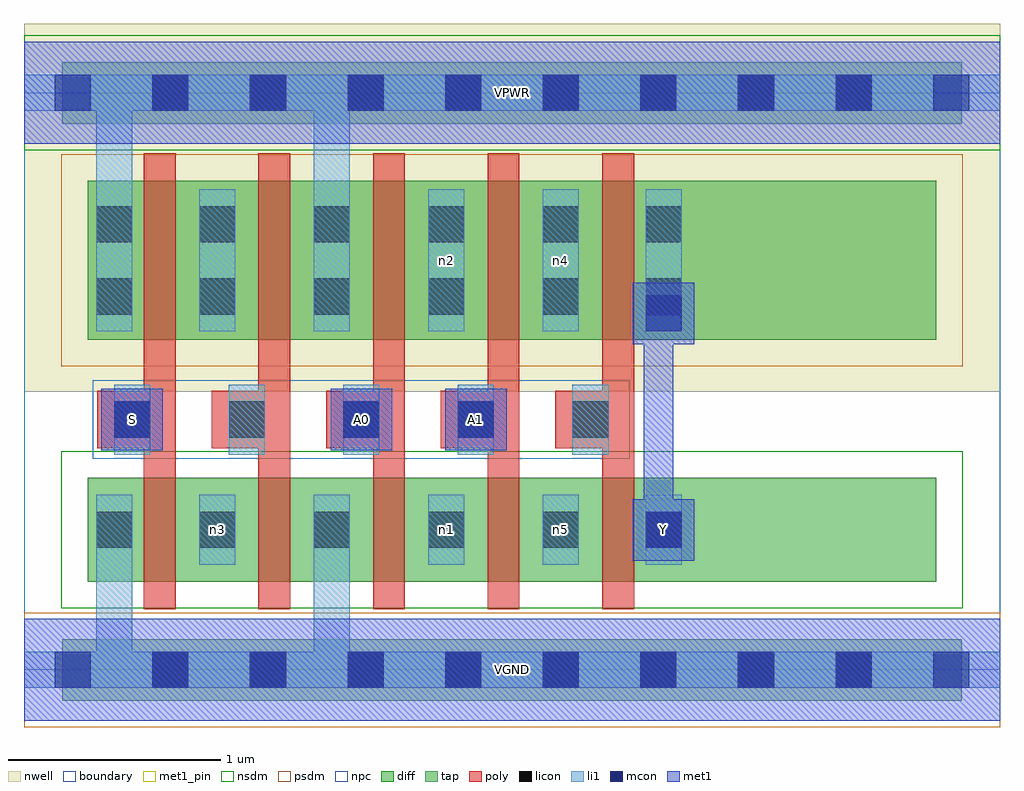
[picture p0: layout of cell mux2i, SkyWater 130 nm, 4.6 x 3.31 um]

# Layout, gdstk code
import gdstk
lib = gdstk.Library(unit=1e-6, precision=1e-09)
def R(c, l, rs):  # rectangles x0, y0, x1, y1
    for r in rs: c.add(gdstk.rectangle(r[:2], r[2:], *l))
def A(c, l, x, y, w, h, nx, ny, dx, dy):  # array of equal rectangles
    R(c, l, [(x+i*dx, y+j*dy, x+i*dx+w, y+j*dy+h) for i in range(nx) for j in range(ny)])
nwell = (64, 20)
diff = (65, 20)
tap = (65, 44)
poly = (66, 20)
licon = (66, 44)
li1 = (67, 20)
mcon = (67, 44)
met1_pin = (68, 16)
met1 = (68, 20)
nsdm = (93, 44)
psdm = (94, 20)
npc = (95, 20)
boundary = (235, 4)

mux2i = lib.new_cell('mux2i')
R(mux2i, nwell, [(0,1.31,4.6,3.045)])
R(mux2i, diff, [(0.3,0.415,4.3,0.905), (0.3,1.555,4.3,2.305)])
R(mux2i, tap, [(0.18,-0.145,4.42,0.145), (0.18,2.575,4.42,2.865)])
A(mux2i, poly, 0.565, 0.285, 0.15, 2.15, 5, 1, 0.54, 0)
A(mux2i, poly, 0.345, 1.045, 0.33, 0.27, 5, 1, 0.54, 0)
A(mux2i, licon, 0.605, -0.085, 0.17, 0.17, 8, 2, 0.46, 2.72)
A(mux2i, licon, 0.825, 0.575, 0.17, 0.17, 4, 2, 0.54, 1.1)
A(mux2i, licon, 0.425, 1.095, 0.17, 0.17, 5, 1, 0.54, 0)
A(mux2i, licon, 0.825, 2.015, 0.17, 0.17, 4, 1, 0.54, 0)
R(mux2i, licon, [(0.34,0.575,0.51,0.745), (2.93,0.575,3.1,0.745), (0.34,1.675,0.51,1.845), (2.93,1.675,3.1,1.845), (0.34,2.015,0.51,2.185), (2.93,2.015,3.1,2.185)])
A(mux2i, li1, 0.825, 0.495, 0.17, 0.33, 4, 1, 0.54, 0)
A(mux2i, li1, 0.425, 1.015, 0.17, 0.33, 5, 1, 0.54, 0)
A(mux2i, li1, 0.825, 1.595, 0.17, 0.67, 4, 1, 0.54, 0)
R(mux2i, li1, [(0,-0.085,4.6,0.085), (0.34,-0.085,0.51,0.825), (1.365,-0.085,1.535,0.825), (0.34,0.495,0.51,0.825), (2.93,0.495,3.1,0.825), (0.34,1.595,0.51,2.265), (0.34,1.595,0.51,2.805), (1.365,1.595,1.535,2.805), (2.93,1.595,3.1,2.265), (0,2.635,4.6,2.805)])
A(mux2i, mcon, 0.145, -0.085, 0.17, 0.17, 10, 2, 0.46, 2.72)
R(mux2i, mcon, [(2.93,0.575,3.1,0.745), (0.425,1.095,0.595,1.265), (1.505,1.095,1.675,1.265), (2.045,1.095,2.215,1.265), (2.93,1.595,3.1,1.765)])
R(mux2i, met1_pin, [(0,-0.24,4.6,0.24), (2.87,0.515,3.16,0.805), (0.365,1.035,0.655,1.325), (1.445,1.035,1.735,1.325), (1.985,1.035,2.275,1.325), (0,2.48,4.6,2.96)])
R(mux2i, met1, [(0,-0.24,4.6,0.24), (2.87,0.515,3.16,0.805), (2.92,0.62,3.06,0.76), (2.92,0.62,3.06,1.565), (0.365,1.035,0.655,1.325), (1.445,1.035,1.735,1.325), (1.985,1.035,2.275,1.325), (2.92,1.425,3.06,1.75), (2.87,1.535,3.16,1.825), (2.92,1.61,3.085,1.75), (0,2.48,4.6,2.96)])
R(mux2i, nsdm, [(0.175,0.29,4.425,1.03), (0,2.45,4.6,2.99)])
R(mux2i, psdm, [(0,-0.27,4.6,0.27), (0.175,1.43,4.425,2.43)])
R(mux2i, npc, [(0.325,0.995,2.855,1.365)])
R(mux2i, boundary, [(0,0,4.6,2.72)])
mux2i.add(gdstk.Label('n3', (0.91,0.66), layer=67, texttype=5))
mux2i.add(gdstk.Label('n1', (1.99,0.66), layer=67, texttype=5))
mux2i.add(gdstk.Label('n5', (2.53,0.66), layer=67, texttype=5))
mux2i.add(gdstk.Label('n2', (1.99,1.93), layer=67, texttype=5))
mux2i.add(gdstk.Label('n4', (2.53,1.93), layer=67, texttype=5))
mux2i.add(gdstk.Label('S', (0.51,1.18), layer=68, texttype=5))
mux2i.add(gdstk.Label('A0', (1.59,1.18), layer=68, texttype=5))
mux2i.add(gdstk.Label('A1', (2.13,1.18), layer=68, texttype=5))
mux2i.add(gdstk.Label('Y', (3.015,0.66), layer=68, texttype=5))
mux2i.add(gdstk.Label('VPWR', (2.3,2.72), layer=68, texttype=5))
mux2i.add(gdstk.Label('VGND', (2.3,0), layer=68, texttype=5))
mux2i.add(gdstk.Label('S', (0.51,1.18), layer=68, texttype=16))
mux2i.add(gdstk.Label('A0', (1.59,1.18), layer=68, texttype=16))
mux2i.add(gdstk.Label('A1', (2.13,1.18), layer=68, texttype=16))
mux2i.add(gdstk.Label('Y', (3.015,0.66), layer=68, texttype=16))
mux2i.add(gdstk.Label('VPWR', (2.3,2.72), layer=68, texttype=16))
mux2i.add(gdstk.Label('VGND', (2.3,0), layer=68, texttype=16))

lib.write_gds('mux2i.gds')
